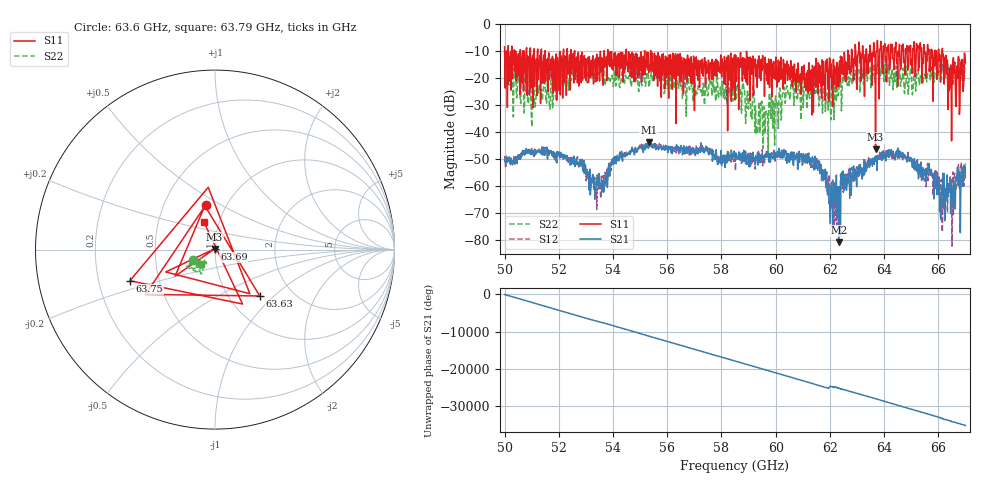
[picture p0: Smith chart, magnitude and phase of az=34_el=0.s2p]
!Created with skrf (http://scikit-rf.org).
# GHz S RI R 50.0
!freq ReS11 ImS11 ReS21 ImS21 ReS12 ImS12 ReS22 ImS22
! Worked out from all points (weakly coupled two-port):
!   1001 points, 50 GHz to 67 GHz, reference 50 ohm
!   highest |S21| = -43.67 dB at 55.32 GHz (marker M1); lowest = -80.8 dB at 62.33 GHz (marker M2)
!   lowest |S11| = -46.3 dB at 63.69 GHz (marker M3), VSWR 1.01, Z = 49.8 + j0.424 ohm
!   |S11| at or under -10 dB: 52.58 GHz to 53.54 GHz (951.1 MHz wide, 1.79 % of centre); 55.39 GHz to 58.92 GHz (3.535 GHz wide, 6.18 % of centre); 58.93 GHz to 62.66 GHz (3.739 GHz wide, 6.15 % of centre) (the widest 3 of 62)
!   |S22| runs from -46.9 to -12.9 dB; largest |S21 - S12| = 0.0021
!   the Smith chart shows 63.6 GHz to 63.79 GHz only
!   S11 on the Smith chart (normalised r, x): 63.6 GHz: 0.80, +0.42; 63.63 GHz: 1.38, -0.82; 63.69 GHz: 1.00, +0.01; 63.75 GHz: 0.34, -0.16; 63.79 GHz: 0.84, +0.27
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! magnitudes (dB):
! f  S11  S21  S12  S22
! 50 GHz  -8.3  -50.3  -48.7  -22.6
! 51.05 GHz  -30.8  -46.8  -47.4  -20.6
! 52.84 GHz  -12.3  -51.4  -52.3  -18.6
! 53.62 GHz  -13.6  -59.1  -56.4  -18.0
! 54.05 GHz  -14.6  -51.7  -51.3  -17.5
! 55.32 GHz  -17.8  -43.7  -44.8  -22.9
! 55.68 GHz  -13.4  -46.5  -45.6  -19.5
! 58.5 GHz  -28.0  -47.8  -49.4  -24.3
! 59.61 GHz  -12.2  -48.5  -48.2  -40.5
! 60.35 GHz  -22.0  -47.2  -48.0  -29.3
! 61.34 GHz  -33.6  -51.0  -53.1  -29.0
! 62.33 GHz  -23.1  -80.8  -64.7  -24.7
! 62.5 GHz  -15.5  -60.0  -62.2  -20.8
! 63.6 GHz  -11.9  -50.8  -51.0  -17.4
! 63.63 GHz  -8.9  -51.9  -50.5  -15.9
! 63.69 GHz  -46.3  -50.6  -49.5  -17.1
! 63.75 GHz  -5.9  -49.5  -48.6  -15.1
! 63.79 GHz  -15.5  -48.8  -49.3  -19.0
! 64.18 GHz  -12.1  -49.1  -49.3  -17.3
! 66.22 GHz  -22.1  -55.2  -65.8  -13.7
! 66.44 GHz  -23.5  -57.1  -56.0  -16.1
! 67 GHz  -14.2  -56.9  -51.5  -13.8
